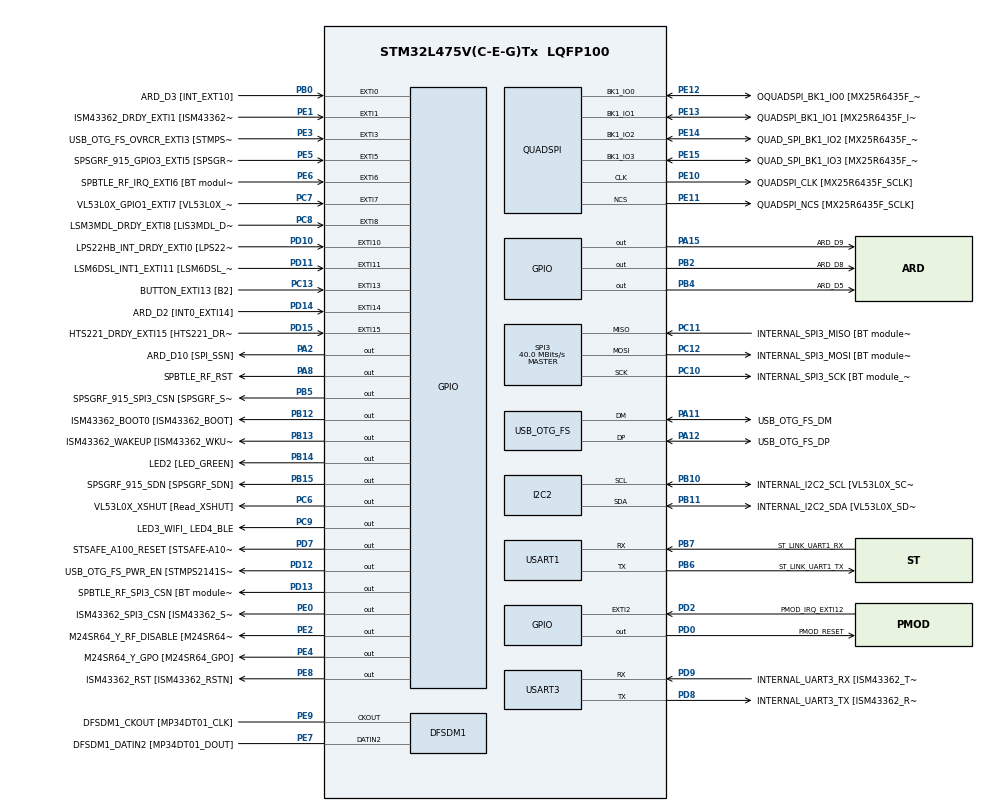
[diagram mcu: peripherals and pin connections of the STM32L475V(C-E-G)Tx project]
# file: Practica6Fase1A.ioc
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Mcu.Family=STM32L4
Mcu.Name=STM32L475V(C-E-G)Tx
Mcu.Package=LQFP100
NVIC.EXTI15_10_IRQn=true\:0\:0\:false\:false\:true\:true\:true\:true
NVIC.EXTI9_5_IRQn=true\:0\:0\:false\:false\:true\:true\:true\:true
NVIC.OTG_FS_IRQn=true\:0\:0\:false\:false\:true\:true\:true\:true
NVIC.PriorityGroup=NVIC_PRIORITYGROUP_4
PA0.GPIO_Label=ARD_D1 [UART4_TX]
PA0.Signal=UART4_TX
PA1.GPIO_Label=ARD_D0 [UART4_RX]
PA1.Signal=UART4_RX
PA10.GPIO_Label=USB_OTG_FS_ID
PA10.Signal=USB_OTG_FS_ID
PA11.GPIO_Label=USB_OTG_FS_DM
PA11.Mode=Device_Only
PA11.Signal=USB_OTG_FS_DM
PA12.GPIO_Label=USB_OTG_FS_DP
PA12.Mode=Device_Only
PA12.Signal=USB_OTG_FS_DP
PA13\ (JTMS-SWDIO).GPIO_Label=SYS_JTMS_SWDIO
PA13\ (JTMS-SWDIO).Mode=Serial_Wire
PA13\ (JTMS-SWDIO).Signal=SYS_JTMS-SWDIO
PA14\ (JTCK-SWCLK).GPIO_Label=SYS_JTCK_SWCLK
PA14\ (JTCK-SWCLK).Mode=Serial_Wire
PA14\ (JTCK-SWCLK).Signal=SYS_JTCK-SWCLK
PA15\ (JTDI).GPIO_Label=ARD_D9
PA15\ (JTDI).Signal=GPIO_Output
PA2.GPIO_Label=ARD_D10 [SPI_SSN]
PA2.Signal=GPIO_Output
PA3.GPIO_Label=ARD_D4
PA3.Signal=S_TIM2_CH4
PA4.GPIO_Label=ARD_D7
PA4.Signal=ADCx_IN9
PA5.GPIO_Label=ARD_D13 [SPI1_SCK]
PA5.Signal=SPI1_SCK
PA6.GPIO_Label=ARD_D12 [SPI1_MISO]
PA6.Signal=SPI1_MISO
PA7.GPIO_Label=ARD_D11 [SPI1_MOSI]
PA7.Signal=SPI1_MOSI
PA8.GPIO_Label=SPBTLE_RF_RST
PA8.Signal=GPIO_Output
PA9.GPIO_Label=USB_OTG_FS_VBUS [STMPS2141STR_OUT]
PA9.Signal=USB_OTG_FS_VBUS
PB0.GPIO_Label=ARD_D3 [INT_EXT10]
PB0.Signal=GPXTI0
PB1.GPIO_Label=ARD_D6 [ADC1_IN6]
PB1.Signal=ADCx_IN16
PB10.GPIO_Label=INTERNAL_I2C2_SCL [VL53L0X_SCL]
PB10.GPIO_Pu=GPIO_PULLUP
PB10.Mode=I2C
PB10.Signal=I2C2_SCL
PB11.GPIO_Label=INTERNAL_I2C2_SDA [VL53L0X_SDA]
PB11.GPIO_Pu=GPIO_PULLUP
PB11.Mode=I2C
PB11.Signal=I2C2_SDA
PB12.GPIO_Label=ISM43362_BOOT0 [ISM43362_BOOT]
PB12.Signal=GPIO_Output
PB13.GPIO_Label=ISM43362_WAKEUP [ISM43362_WKUP]
PB13.Signal=GPIO_Output
PB14.GPIO_Label=LED2 [LED_GREEN]
PB14.Signal=GPIO_Output
PB15.GPIO_Label=SPSGRF_915_SDN [SPSGRF_SDN]
PB15.Signal=GPIO_Output
PB2.GPIO_Label=ARD_D8
PB2.Signal=GPIO_Output
PB3\ (JTDO-TRACESWO).GPIO_Label=SYS_JTD0_SWO
PB3\ (JTDO-TRACESWO).Signal=SYS_JTDO-SWO
PB4\ (NJTRST).GPIO_Label=ARD_D5
PB4\ (NJTRST).Signal=GPIO_Output
PB5.GPIO_Label=SPSGRF_915_SPI3_CSN [SPSGRF_SPI_CS]
PB5.PinState=GPIO_PIN_SET
PB5.Signal=GPIO_Output
PB6.GPIO_Label=ST_LINK_UART1_TX
PB6.Mode=Asynchronous
PB6.Signal=USART1_TX
PB7.GPIO_Label=ST_LINK_UART1_RX
PB7.Mode=Asynchronous
PB7.Signal=USART1_RX
PB8.GPIO_Label=ARD_D15 [I2C1_SCL]
PB8.Signal=I2C1_SCL
PB9.GPIO_Label=ARD_D14 [I2C1_SDA]
PB9.Signal=I2C1_SDA
PC0.GPIO_Label=ARD_A5 [ADC]
PC0.Signal=ADCx_IN1
PC1.GPIO_Label=ARD_A4 [ADC]
PC1.Signal=ADCx_IN2
PC10.GPIO_Label=INTERNAL_SPI3_SCK [BT module_SPI_SCLK] [ISM43362_SCK]
PC10.Mode=Full_Duplex_Master
PC10.Signal=SPI3_SCK
PC11.GPIO_Label=INTERNAL_SPI3_MISO [BT module_SPI_MISO] [ISM43362_MISO]
PC11.Mode=Full_Duplex_Master
PC11.Signal=SPI3_MISO
PC12.GPIO_Label=INTERNAL_SPI3_MOSI [BT module_SPI_MOSI] [ISM43362_MOSI]
PC12.Mode=Full_Duplex_Master
PC12.Signal=SPI3_MOSI
PC13.GPIO_Label=BUTTON_EXTI13 [B2]
PC13.GPIO_ModeDefaultEXTI=GPIO_MODE_IT_FALLING
PC13.Signal=GPXTI13
PC14-OSC32_IN\ (PC14).Mode=LSE-External-Oscillator
PC14-OSC32_IN\ (PC14).Signal=RCC_OSC32_IN
PC15-OSC32_OUT\ (PC15).Mode=LSE-External-Oscillator
PC15-OSC32_OUT\ (PC15).Signal=RCC_OSC32_OUT
PC2.GPIO_Label=ARD_A3 [ADC]
PC2.Signal=ADCx_IN3
PC3.GPIO_Label=ARD_A2 [ADC]
PC3.Signal=ADCx_IN4
PC4.GPIO_Label=ARD_A1 [ADC]
PC4.Signal=ADCx_IN13
PC5.GPIO_Label=ARD_A0 [ADC]
PC5.Signal=ADCx_IN14
PC6.GPIO_Label=VL53L0X_XSHUT [Read_XSHUT]
PC6.Signal=GPIO_Output
PC7.GPIO_Label=VL53L0X_GPIO1_EXTI7 [VL53L0X_GPIO1]
PC7.Signal=GPXTI7
PC8.GPIO_Label=LSM3MDL_DRDY_EXTI8 [LIS3MDL_DRDY]
PC8.Signal=GPXTI8
PC9.GPIO_Label=LED3_WIFI_ LED4_BLE
PC9.Signal=GPIO_Output
PD0.GPIO_Label=PMOD_RESET
PD0.Signal=GPIO_Output
PD1.GPIO_Label=PMOD_SPI2_SCK
PD1.Signal=SPI2_SCK
PD10.GPIO_Label=LPS22HB_INT_DRDY_EXTI0 [LPS22HB_INT_DRDY] 
PD10.Signal=GPXTI10
PD11.GPIO_Label=LSM6DSL_INT1_EXTI11 [LSM6DSL_INT1]
PD11.Signal=GPXTI11
PD12.GPIO_Label=USB_OTG_FS_PWR_EN [STMPS2141STR_EN]
PD12.Signal=GPIO_Output
PD13.GPIO_Label=SPBTLE_RF_SPI3_CSN [BT module_SPI_CS]
PD13.PinState=GPIO_PIN_SET
PD13.Signal=GPIO_Output
PD14.GPIO_Label=ARD_D2 [INT0_EXTI14]
PD14.Signal=GPXTI14
PD15.GPIO_Label=HTS221_DRDY_EXTI15 [HTS221_DRDY]
PD15.Signal=GPXTI15
PD2.GPIO_Label=PMOD_IRQ_EXTI12
PD2.Signal=GPXTI2
PD3.GPIO_Label=PMOD_UART2_CTS
PD3.Signal=USART2_CTS
PD4.GPIO_Label=PMOD_UART2_RTS
PD4.Signal=USART2_RTS
PD5.GPIO_Label=PMOD_UART2_TX
PD5.Signal=USART2_TX
PD6.GPIO_Label=PMOD_UART2_RX
PD6.Signal=USART2_RX
PD7.GPIO_Label=STSAFE_A100_RESET [STSAFE-A100_RESET]
PD7.Signal=GPIO_Output
PD8.GPIO_Label=INTERNAL_UART3_TX [ISM43362_RX]
PD8.Mode=Asynchronous
PD8.Signal=USART3_TX
PD9.GPIO_Label=INTERNAL_UART3_RX [ISM43362_TX]
PD9.Mode=Asynchronous
PD9.Signal=USART3_RX
PE0.GPIO_Label=ISM43362_SPI3_CSN [ISM43362_SSN]
PE0.PinState=GPIO_PIN_SET
PE0.Signal=GPIO_Output
PE1.GPIO_Label=ISM43362_DRDY_EXTI1 [ISM43362_DATARDY]
PE1.Signal=GPXTI1
PE10.GPIO_Label=QUADSPI_CLK [MX25R6435F_SCLK]
PE10.Mode=Single Bank
PE10.Signal=QUADSPI_CLK
PE11.GPIO_Label=QUADSPI_NCS [MX25R6435F_SCLK]
PE11.Mode=Single Bank
PE11.Signal=QUADSPI_NCS
PE12.GPIO_Label=OQUADSPI_BK1_IO0 [MX25R6435F_IO0]
PE12.Mode=Single Bank
PE12.Signal=QUADSPI_BK1_IO0
PE13.GPIO_Label=QUADSPI_BK1_IO1 [MX25R6435F_IO1]
PE13.Mode=Single Bank
PE13.Signal=QUADSPI_BK1_IO1
PE14.GPIO_Label=QUAD_SPI_BK1_IO2 [MX25R6435F_IO2]
PE14.Mode=Single Bank
PE14.Signal=QUADSPI_BK1_IO2
PE15.GPIO_Label=QUAD_SPI_BK1_IO3 [MX25R6435F_IO3]
PE15.Mode=Single Bank
PE15.Signal=QUADSPI_BK1_IO3
PE2.GPIO_Label=M24SR64_Y_RF_DISABLE [M24SR64_RFDIS]
PE2.Signal=GPIO_Output
PE3.GPIO_Label=USB_OTG_FS_OVRCR_EXTI3 [STMPS2141STR_FAULT]
PE3.Signal=GPXTI3
PE4.GPIO_Label=M24SR64_Y_GPO [M24SR64_GPO]
PE4.Signal=GPIO_Output
PE5.GPIO_Label=SPSGRF_915_GPIO3_EXTI5 [SPSGRF_GPIO_3]
PE5.Signal=GPXTI5
PE6.GPIO_Label=SPBTLE_RF_IRQ_EXTI6 [BT module_SPI_IRQ]
PE6.Signal=GPXTI6
PE7.GPIO_Label=DFSDM1_DATIN2 [MP34DT01_DOUT]
PE7.Signal=S_DATAIN2DFSDM1
PE8.GPIO_Label=ISM43362_RST [ISM43362_RSTN]
PE8.Signal=GPIO_Output
PE9.GPIO_Label=DFSDM1_CKOUT [MP34DT01_CLK]
PE9.Signal=S_CKOUTDFSDM1
ProjectManager.HeapSize=0x200
ProjectManager.StackSize=0x400
ProjectManager.TargetToolchain=STM32CubeIDE
QUADSPI.ClockPrescaler=2
QUADSPI.FifoThreshold=4
QUADSPI.FlashSize=23
QUADSPI.SampleShifting=QSPI_SAMPLE_SHIFTING_HALFCYCLE
RCC.ADCFreq_Value=48000000
RCC.AHBFreq_Value=80000000
RCC.APB1Freq_Value=80000000
RCC.APB1TimFreq_Value=80000000
RCC.APB2Freq_Value=80000000
RCC.APB2TimFreq_Value=80000000
RCC.CortexFreq_Value=80000000
RCC.HCLKFreq_Value=80000000
RCC.HSE_VALUE=8000000
RCC.HSI_VALUE=16000000
RCC.MSI_VALUE=4000000
RCC.PLLN=40
RCC.PLLSAI1N=24
RCC.SYSCLKFreq_VALUE=80000000
RCC.SYSCLKSource=RCC_SYSCLKSOURCE_PLLCLK
RCC.USBFreq_Value=48000000
RCC.VCOOutputFreq_Value=160000000
SH.ADCx_IN1.0=ADC1_IN1
SH.ADCx_IN13.0=ADC1_IN13
SH.ADCx_IN14.0=ADC1_IN14
SH.ADCx_IN16.0=ADC1_IN16
SH.ADCx_IN2.0=ADC1_IN2
SH.ADCx_IN3.0=ADC1_IN3
SH.ADCx_IN4.0=ADC1_IN4
SH.ADCx_IN9.0=ADC1_IN9
SH.S_CKOUTDFSDM1.0=DFSDM1_CKOUT,CKOUT
SH.S_CKOUTDFSDM1.1=DFSDM1_CKOUT,PDM_SPI_Input_from_ch12_and_Internal_Clock
SH.S_DATAIN2DFSDM1.0=DFSDM1_DATIN2,PDM_SPI_Input_from_ch12_and_Internal_Clock
SH.S_TIM2_CH4.0=TIM2_CH4
SPI3.CalculateBaudRate=40.0 MBits/s
SPI3.Direction=SPI_DIRECTION_2LINES
SPI3.Mode=SPI_MODE_MASTER
SPI3.VirtualType=VM_MASTER
USART1.VirtualMode-Asynchronous=VM_ASYNC
USART3.VirtualMode-Asynchronous=VM_ASYNC
USB_DEVICE.CLASS_NAME_FS=CUSTOM_HID
USB_DEVICE.USBD_CUSTOM_HID_REPORT_DESC_SIZE=50
USB_DEVICE.VirtualMode=CustomHid
USB_DEVICE.VirtualModeFS=Custom_Hid_FS
USB_OTG_FS.VirtualMode=Device_Only
VP_USB_DEVICE_VS_USB_DEVICE_CUSTOM_HID_FS.Mode=CUSTOM_HID_FS
board=B-L475E-IOT01A2

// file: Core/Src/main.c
/* USER CODE BEGIN Header */
/**
 ******************************************************************************
 * @file           : main.c
 * @brief          : Main program body
 ******************************************************************************
 * @attention
 *
 * Copyright (c) 2024 STMicroelectronics.
 * All rights reserved.
 *
 * This software is licensed under terms that can be found in the LICENSE file
 * in the root directory of this software component.
 * If no LICENSE file comes with this software, it is provided AS-IS.
 *
 ******************************************************************************
 */
/* USER CODE END Header */
#include "main.h"
#include "usb_device.h"

DFSDM_Channel_HandleTypeDef hdfsdm1_channel1;

I2C_HandleTypeDef hi2c2;

QSPI_HandleTypeDef hqspi;

SPI_HandleTypeDef hspi3;

UART_HandleTypeDef huart1;
UART_HandleTypeDef huart3;

void SystemClock_Config(void);
static void MX_GPIO_Init(void);
static void MX_DFSDM1_Init(void);
static void MX_I2C2_Init(void);
static void MX_QUADSPI_Init(void);
static void MX_SPI3_Init(void);
static void MX_USART1_UART_Init(void);
static void MX_USART3_UART_Init(void);

/* USER CODE BEGIN 0 */
void ini_acelerometro(){

	uint8_t buffer[1];
	// que metemos en el buffer
	// pues los datos a escribir
	buffer[0]= 0x40;
	// debe escribir en la dirección del esclabo
	// 0xD4
	// el tamaño es de 8 byrtes
	//creo que no hace falta meterle 1000 de timeaout
	// ya qyue no hay que calentarlo
	HAL_I2C_Mem_Write(&hi2c2, 0xD4, 0x10, I2C_MEMADD_SIZE_8BIT, buffer, 1, 100);
}
int16_t readAccel(uint8_t axis){
	int16_t res = 0 ;
	uint8_t buffer[2];
	HAL_I2C_Mem_Read(&hi2c2, 0xD4, 0x28+2*axis, I2C_MEMADD_SIZE_8BIT, buffer,2, 100);
	res = ((int16_t)(buffer[1]<<8)| buffer[0])*0.061;
	return res;
}
int16_t convert(int16_t dato){
	return (((dato - (-1000)) * (127 - 0)) /
			(1000 - (-1000))) + 0;
}
int16_t convert2(int16_t dato){
	return dato/100;
}

/* USER CODE END 0 */

int main(void) {
	/* USER CODE BEGIN 1 */

	uint8_t dato[3]; // esta es la variable donde vamos a mandar el report
	/* USER CODE END 1 */
	/* MCU Configuration--------------------------------------------------------*/
	/* Reset of all peripherals, Initializes the Flash interface and the Systick. */
	HAL_Init();
	/* Configure the system clock */
	SystemClock_Config();
	/* Initialize all configured peripherals */
	MX_GPIO_Init();
	MX_DFSDM1_Init();
	MX_I2C2_Init();
	MX_QUADSPI_Init();
	MX_SPI3_Init();
	MX_USART1_UART_Init();
	MX_USART3_UART_Init();
	MX_USB_DEVICE_Init();
	ini_acelerometro();
	/* USER CODE BEGIN 2 */
	HAL_Delay(5000); //retraso para esperar a que el USB se configure
	dato[0] = 0;
//estos son los tres botones, ninguno pulsado
/* USER CODE END 2 */
/* Infinite loop */
/* USER CODE BEGIN WHILE */
while (1)
{// leelmos el estado el botón
	if (HAL_GPIO_ReadPin(BUTTON_EXTI13_GPIO_Port, BUTTON_EXTI13_Pin)==1){
			dato[0]=0b00100000 ;// Button
		}
	// leemos eje x
// establecemos el valor de dato[1]

	dato[1]= convert2(readAccel(0));
// leemos eje y
//establecemos el valor de dato[2]
dato[2]= convert2(readAccel(1)),
USBD_CUSTOM_HID_SendReport_FS(dato,3);
 HAL_Delay(100);
	/* USER CODE END WHILE */
}
}

void SystemClock_Config(void) {
RCC_OscInitTypeDef RCC_OscInitStruct = { 0 };
RCC_ClkInitTypeDef RCC_ClkInitStruct = { 0 };

/** Configure the main internal regulator output voltage
 */
if (HAL_PWREx_ControlVoltageScaling(PWR_REGULATOR_VOLTAGE_SCALE1) != HAL_OK) {
	Error_Handler();
}

/** Configure LSE Drive Capability
 */
HAL_PWR_EnableBkUpAccess();
__HAL_RCC_LSEDRIVE_CONFIG(RCC_LSEDRIVE_LOW);

/** Initializes the RCC Oscillators according to the specified parameters
 * in the RCC_OscInitTypeDef structure.
 */
RCC_OscInitStruct.OscillatorType = RCC_OSCILLATORTYPE_LSE
		| RCC_OSCILLATORTYPE_MSI;
RCC_OscInitStruct.LSEState = RCC_LSE_ON;
RCC_OscInitStruct.MSIState = RCC_MSI_ON;
RCC_OscInitStruct.MSICalibrationValue = 0;
RCC_OscInitStruct.MSIClockRange = RCC_MSIRANGE_6;
RCC_OscInitStruct.PLL.PLLState = RCC_PLL_ON;
RCC_OscInitStruct.PLL.PLLSource = RCC_PLLSOURCE_MSI;
RCC_OscInitStruct.PLL.PLLM = 1;
RCC_OscInitStruct.PLL.PLLN = 40;
RCC_OscInitStruct.PLL.PLLP = RCC_PLLP_DIV7;
RCC_OscInitStruct.PLL.PLLQ = RCC_PLLQ_DIV2;
RCC_OscInitStruct.PLL.PLLR = RCC_PLLR_DIV2;
if (HAL_RCC_OscConfig(&RCC_OscInitStruct) != HAL_OK) {
	Error_Handler();
}

/** Initializes the CPU, AHB and APB buses clocks
 */
RCC_ClkInitStruct.ClockType = RCC_CLOCKTYPE_HCLK | RCC_CLOCKTYPE_SYSCLK
		| RCC_CLOCKTYPE_PCLK1 | RCC_CLOCKTYPE_PCLK2;
RCC_ClkInitStruct.SYSCLKSource = RCC_SYSCLKSOURCE_PLLCLK;
RCC_ClkInitStruct.AHBCLKDivider = RCC_SYSCLK_DIV1;
RCC_ClkInitStruct.APB1CLKDivider = RCC_HCLK_DIV1;
RCC_ClkInitStruct.APB2CLKDivider = RCC_HCLK_DIV1;

if (HAL_RCC_ClockConfig(&RCC_ClkInitStruct, FLASH_LATENCY_4) != HAL_OK) {
	Error_Handler();
}

/** Enable MSI Auto calibration
 */
HAL_RCCEx_EnableMSIPLLMode();
}

static void MX_DFSDM1_Init(void) {

hdfsdm1_channel1.Instance = DFSDM1_Channel1;
hdfsdm1_channel1.Init.OutputClock.Activation = ENABLE;
hdfsdm1_channel1.Init.OutputClock.Selection = DFSDM_CHANNEL_OUTPUT_CLOCK_SYSTEM;
hdfsdm1_channel1.Init.OutputClock.Divider = 2;
hdfsdm1_channel1.Init.Input.Multiplexer = DFSDM_CHANNEL_EXTERNAL_INPUTS;
hdfsdm1_channel1.Init.Input.DataPacking = DFSDM_CHANNEL_STANDARD_MODE;
hdfsdm1_channel1.Init.Input.Pins = DFSDM_CHANNEL_FOLLOWING_CHANNEL_PINS;
hdfsdm1_channel1.Init.SerialInterface.Type = DFSDM_CHANNEL_SPI_RISING;
hdfsdm1_channel1.Init.SerialInterface.SpiClock =
		DFSDM_CHANNEL_SPI_CLOCK_INTERNAL;
hdfsdm1_channel1.Init.Awd.FilterOrder = DFSDM_CHANNEL_FASTSINC_ORDER;
hdfsdm1_channel1.Init.Awd.Oversampling = 1;
hdfsdm1_channel1.Init.Offset = 0;
hdfsdm1_channel1.Init.RightBitShift = 0x00;
if (HAL_DFSDM_ChannelInit(&hdfsdm1_channel1) != HAL_OK) {
	Error_Handler();
}

}

static void MX_I2C2_Init(void) {

hi2c2.Instance = I2C2;
hi2c2.Init.Timing = 0x00000E14;
hi2c2.Init.OwnAddress1 = 0;
hi2c2.Init.AddressingMode = I2C_ADDRESSINGMODE_7BIT;
hi2c2.Init.DualAddressMode = I2C_DUALADDRESS_DISABLE;
hi2c2.Init.OwnAddress2 = 0;
hi2c2.Init.OwnAddress2Masks = I2C_OA2_NOMASK;
hi2c2.Init.GeneralCallMode = I2C_GENERALCALL_DISABLE;
hi2c2.Init.NoStretchMode = I2C_NOSTRETCH_DISABLE;
if (HAL_I2C_Init(&hi2c2) != HAL_OK) {
	Error_Handler();
}

/** Configure Analogue filter
 */
if (HAL_I2CEx_ConfigAnalogFilter(&hi2c2, I2C_ANALOGFILTER_ENABLE) != HAL_OK) {
	Error_Handler();
}

/** Configure Digital filter
 */
if (HAL_I2CEx_ConfigDigitalFilter(&hi2c2, 0) != HAL_OK) {
	Error_Handler();
}

}

static void MX_QUADSPI_Init(void) {

/* QUADSPI parameter configuration*/
hqspi.Instance = QUADSPI;
hqspi.Init.ClockPrescaler = 2;
hqspi.Init.FifoThreshold = 4;
hqspi.Init.SampleShifting = QSPI_SAMPLE_SHIFTING_HALFCYCLE;
hqspi.Init.FlashSize = 23;
hqspi.Init.ChipSelectHighTime = QSPI_CS_HIGH_TIME_1_CYCLE;
hqspi.Init.ClockMode = QSPI_CLOCK_MODE_0;
if (HAL_QSPI_Init(&hqspi) != HAL_OK) {
	Error_Handler();
}

}

static void MX_SPI3_Init(void) {

/* SPI3 parameter configuration*/
hspi3.Instance = SPI3;
hspi3.Init.Mode = SPI_MODE_MASTER;
hspi3.Init.Direction = SPI_DIRECTION_2LINES;
hspi3.Init.DataSize = SPI_DATASIZE_4BIT;
hspi3.Init.CLKPolarity = SPI_POLARITY_LOW;
hspi3.Init.CLKPhase = SPI_PHASE_1EDGE;
hspi3.Init.NSS = SPI_NSS_SOFT;
hspi3.Init.BaudRatePrescaler = SPI_BAUDRATEPRESCALER_2;
hspi3.Init.FirstBit = SPI_FIRSTBIT_MSB;
hspi3.Init.TIMode = SPI_TIMODE_DISABLE;
hspi3.Init.CRCCalculation = SPI_CRCCALCULATION_DISABLE;
hspi3.Init.CRCPolynomial = 7;
hspi3.Init.CRCLength = SPI_CRC_LENGTH_DATASIZE;
hspi3.Init.NSSPMode = SPI_NSS_PULSE_ENABLE;
if (HAL_SPI_Init(&hspi3) != HAL_OK) {
	Error_Handler();
}

}

static void MX_USART1_UART_Init(void) {

huart1.Instance = USART1;
huart1.Init.BaudRate = 115200;
huart1.Init.WordLength = UART_WORDLENGTH_8B;
huart1.Init.StopBits = UART_STOPBITS_1;
huart1.Init.Parity = UART_PARITY_NONE;
huart1.Init.Mode = UART_MODE_TX_RX;
huart1.Init.HwFlowCtl = UART_HWCONTROL_NONE;
huart1.Init.OverSampling = UART_OVERSAMPLING_16;
huart1.Init.OneBitSampling = UART_ONE_BIT_SAMPLE_DISABLE;
huart1.AdvancedInit.AdvFeatureInit = UART_ADVFEATURE_NO_INIT;
if (HAL_UART_Init(&huart1) != HAL_OK) {
	Error_Handler();
}

}

static void MX_USART3_UART_Init(void) {

huart3.Instance = USART3;
huart3.Init.BaudRate = 115200;
huart3.Init.WordLength = UART_WORDLENGTH_8B;
huart3.Init.StopBits = UART_STOPBITS_1;
huart3.Init.Parity = UART_PARITY_NONE;
huart3.Init.Mode = UART_MODE_TX_RX;
huart3.Init.HwFlowCtl = UART_HWCONTROL_NONE;
huart3.Init.OverSampling = UART_OVERSAMPLING_16;
huart3.Init.OneBitSampling = UART_ONE_BIT_SAMPLE_DISABLE;
huart3.AdvancedInit.AdvFeatureInit = UART_ADVFEATURE_NO_INIT;
if (HAL_UART_Init(&huart3) != HAL_OK) {
	Error_Handler();
}

}

static void MX_GPIO_Init(void) {
GPIO_InitTypeDef GPIO_InitStruct = { 0 };

/* GPIO Ports Clock Enable */
__HAL_RCC_GPIOE_CLK_ENABLE();
__HAL_RCC_GPIOC_CLK_ENABLE();
__HAL_RCC_GPIOA_CLK_ENABLE();
__HAL_RCC_GPIOB_CLK_ENABLE();
__HAL_RCC_GPIOD_CLK_ENABLE();

/*Configure GPIO pin Output Level */
HAL_GPIO_WritePin(GPIOE,
		M24SR64_Y_RF_DISABLE_Pin | M24SR64_Y_GPO_Pin | ISM43362_RST_Pin,
		GPIO_PIN_RESET);

/*Configure GPIO pin Output Level */
HAL_GPIO_WritePin(GPIOA, ARD_D10_Pin | SPBTLE_RF_RST_Pin | ARD_D9_Pin,
		GPIO_PIN_RESET);

/*Configure GPIO pin Output Level */
HAL_GPIO_WritePin(GPIOB,
		ARD_D8_Pin | ISM43362_BOOT0_Pin | ISM43362_WAKEUP_Pin | LED2_Pin
				| SPSGRF_915_SDN_Pin | ARD_D5_Pin, GPIO_PIN_RESET);

/*Configure GPIO pin Output Level */
HAL_GPIO_WritePin(GPIOD,
		USB_OTG_FS_PWR_EN_Pin | PMOD_RESET_Pin | STSAFE_A100_RESET_Pin,
		GPIO_PIN_RESET);

/*Configure GPIO pin Output Level */
HAL_GPIO_WritePin(SPBTLE_RF_SPI3_CSN_GPIO_Port, SPBTLE_RF_SPI3_CSN_Pin,
		GPIO_PIN_SET);

/*Configure GPIO pin Output Level */
HAL_GPIO_WritePin(GPIOC, VL53L0X_XSHUT_Pin | LED3_WIFI__LED4_BLE_Pin,
		GPIO_PIN_RESET);

/*Configure GPIO pin Output Level */
HAL_GPIO_WritePin(SPSGRF_915_SPI3_CSN_GPIO_Port, SPSGRF_915_SPI3_CSN_Pin,
		GPIO_PIN_SET);

/*Configure GPIO pin Output Level */
HAL_GPIO_WritePin(ISM43362_SPI3_CSN_GPIO_Port, ISM43362_SPI3_CSN_Pin,
		GPIO_PIN_SET);

/*Configure GPIO pins : M24SR64_Y_RF_DISABLE_Pin M24SR64_Y_GPO_Pin ISM43362_RST_Pin ISM43362_SPI3_CSN_Pin */
GPIO_InitStruct.Pin = M24SR64_Y_RF_DISABLE_Pin | M24SR64_Y_GPO_Pin
		| ISM43362_RST_Pin | ISM43362_SPI3_CSN_Pin;
GPIO_InitStruct.Mode = GPIO_MODE_OUTPUT_PP;
GPIO_InitStruct.Pull = GPIO_NOPULL;
GPIO_InitStruct.Speed = GPIO_SPEED_FREQ_LOW;
HAL_GPIO_Init(GPIOE, &GPIO_InitStruct);

/*Configure GPIO pins : USB_OTG_FS_OVRCR_EXTI3_Pin SPSGRF_915_GPIO3_EXTI5_Pin SPBTLE_RF_IRQ_EXTI6_Pin ISM43362_DRDY_EXTI1_Pin */
GPIO_InitStruct.Pin = USB_OTG_FS_OVRCR_EXTI3_Pin | SPSGRF_915_GPIO3_EXTI5_Pin
		| SPBTLE_RF_IRQ_EXTI6_Pin | ISM43362_DRDY_EXTI1_Pin;
GPIO_InitStruct.Mode = GPIO_MODE_IT_RISING;
GPIO_InitStruct.Pull = GPIO_NOPULL;
HAL_GPIO_Init(GPIOE, &GPIO_InitStruct);

/*Configure GPIO pin : BUTTON_EXTI13_Pin */
GPIO_InitStruct.Pin = BUTTON_EXTI13_Pin;
GPIO_InitStruct.Mode = GPIO_MODE_IT_FALLING;
GPIO_InitStruct.Pull = GPIO_NOPULL;
HAL_GPIO_Init(BUTTON_EXTI13_GPIO_Port, &GPIO_InitStruct);

/*Configure GPIO pins : ARD_A5_Pin ARD_A4_Pin ARD_A3_Pin ARD_A2_Pin
 ARD_A1_Pin ARD_A0_Pin */
GPIO_InitStruct.Pin = ARD_A5_Pin | ARD_A4_Pin | ARD_A3_Pin | ARD_A2_Pin
		| ARD_A1_Pin | ARD_A0_Pin;
GPIO_InitStruct.Mode = GPIO_MODE_ANALOG_ADC_CONTROL;
GPIO_InitStruct.Pull = GPIO_NOPULL;
HAL_GPIO_Init(GPIOC, &GPIO_InitStruct);

/*Configure GPIO pins : ARD_D1_Pin ARD_D0_Pin */
GPIO_InitStruct.Pin = ARD_D1_Pin | ARD_D0_Pin;
GPIO_InitStruct.Mode = GPIO_MODE_AF_PP;
GPIO_InitStruct.Pull = GPIO_NOPULL;
GPIO_InitStruct.Speed = GPIO_SPEED_FREQ_VERY_HIGH;
GPIO_InitStruct.Alternate = GPIO_AF8_UART4;
HAL_GPIO_Init(GPIOA, &GPIO_InitStruct);

/*Configure GPIO pins : ARD_D10_Pin SPBTLE_RF_RST_Pin ARD_D9_Pin */
GPIO_InitStruct.Pin = ARD_D10_Pin | SPBTLE_RF_RST_Pin | ARD_D9_Pin;
GPIO_InitStruct.Mode = GPIO_MODE_OUTPUT_PP;
GPIO_InitStruct.Pull = GPIO_NOPULL;
GPIO_InitStruct.Speed = GPIO_SPEED_FREQ_LOW;
HAL_GPIO_Init(GPIOA, &GPIO_InitStruct);

/*Configure GPIO pin : ARD_D4_Pin */
GPIO_InitStruct.Pin = ARD_D4_Pin;
GPIO_InitStruct.Mode = GPIO_MODE_AF_PP;
GPIO_InitStruct.Pull = GPIO_NOPULL;
GPIO_InitStruct.Speed = GPIO_SPEED_FREQ_LOW;
GPIO_InitStruct.Alternate = GPIO_AF1_TIM2;
HAL_GPIO_Init(ARD_D4_GPIO_Port, &GPIO_InitStruct);

/*Configure GPIO pin : ARD_D7_Pin */
GPIO_InitStruct.Pin = ARD_D7_Pin;
GPIO_InitStruct.Mode = GPIO_MODE_ANALOG_ADC_CONTROL;
GPIO_InitStruct.Pull = GPIO_NOPULL;
HAL_GPIO_Init(ARD_D7_GPIO_Port, &GPIO_InitStruct);

/*Configure GPIO pins : ARD_D13_Pin ARD_D12_Pin ARD_D11_Pin */
GPIO_InitStruct.Pin = ARD_D13_Pin | ARD_D12_Pin | ARD_D11_Pin;
GPIO_InitStruct.Mode = GPIO_MODE_AF_PP;
GPIO_InitStruct.Pull = GPIO_NOPULL;
GPIO_InitStruct.Speed = GPIO_SPEED_FREQ_VERY_HIGH;
GPIO_InitStruct.Alternate = GPIO_AF5_SPI1;
HAL_GPIO_Init(GPIOA, &GPIO_InitStruct);

/*Configure GPIO pin : ARD_D3_Pin */
GPIO_InitStruct.Pin = ARD_D3_Pin;
GPIO_InitStruct.Mode = GPIO_MODE_IT_RISING;
GPIO_InitStruct.Pull = GPIO_NOPULL;
HAL_GPIO_Init(ARD_D3_GPIO_Port, &GPIO_InitStruct);

/*Configure GPIO pin : ARD_D6_Pin */
GPIO_InitStruct.Pin = ARD_D6_Pin;
GPIO_InitStruct.Mode = GPIO_MODE_ANALOG_ADC_CONTROL;
GPIO_InitStruct.Pull = GPIO_NOPULL;
HAL_GPIO_Init(ARD_D6_GPIO_Port, &GPIO_InitStruct);

/*Configure GPIO pins : ARD_D8_Pin ISM43362_BOOT0_Pin ISM43362_WAKEUP_Pin LED2_Pin
 SPSGRF_915_SDN_Pin ARD_D5_Pin SPSGRF_915_SPI3_CSN_Pin */
GPIO_InitStruct.Pin = ARD_D8_Pin | ISM43362_BOOT0_Pin | ISM43362_WAKEUP_Pin
		| LED2_Pin | SPSGRF_915_SDN_Pin | ARD_D5_Pin | SPSGRF_915_SPI3_CSN_Pin;
GPIO_InitStruct.Mode = GPIO_MODE_OUTPUT_PP;
GPIO_InitStruct.Pull = GPIO_NOPULL;
GPIO_InitStruct.Speed = GPIO_SPEED_FREQ_LOW;
HAL_GPIO_Init(GPIOB, &GPIO_InitStruct);

/*Configure GPIO pins : LPS22HB_INT_DRDY_EXTI0_Pin LSM6DSL_INT1_EXTI11_Pin ARD_D2_Pin HTS221_DRDY_EXTI15_Pin
 PMOD_IRQ_EXTI12_Pin */
GPIO_InitStruct.Pin = LPS22HB_INT_DRDY_EXTI0_Pin | LSM6DSL_INT1_EXTI11_Pin
		| ARD_D2_Pin | HTS221_DRDY_EXTI15_Pin | PMOD_IRQ_EXTI12_Pin;
GPIO_InitStruct.Mode = GPIO_MODE_IT_RISING;
GPIO_InitStruct.Pull = GPIO_NOPULL;
HAL_GPIO_Init(GPIOD, &GPIO_InitStruct);

/*Configure GPIO pins : USB_OTG_FS_PWR_EN_Pin SPBTLE_RF_SPI3_CSN_Pin PMOD_RESET_Pin STSAFE_A100_RESET_Pin */
GPIO_InitStruct.Pin = USB_OTG_FS_PWR_EN_Pin | SPBTLE_RF_SPI3_CSN_Pin
		| PMOD_RESET_Pin | STSAFE_A100_RESET_Pin;
GPIO_InitStruct.Mode = GPIO_MODE_OUTPUT_PP;
GPIO_InitStruct.Pull = GPIO_NOPULL;
GPIO_InitStruct.Speed = GPIO_SPEED_FREQ_LOW;
HAL_GPIO_Init(GPIOD, &GPIO_InitStruct);

/*Configure GPIO pins : VL53L0X_XSHUT_Pin LED3_WIFI__LED4_BLE_Pin */
GPIO_InitStruct.Pin = VL53L0X_XSHUT_Pin | LED3_WIFI__LED4_BLE_Pin;
GPIO_InitStruct.Mode = GPIO_MODE_OUTPUT_PP;
GPIO_InitStruct.Pull = GPIO_NOPULL;
GPIO_InitStruct.Speed = GPIO_SPEED_FREQ_LOW;
HAL_GPIO_Init(GPIOC, &GPIO_InitStruct);

/*Configure GPIO pins : VL53L0X_GPIO1_EXTI7_Pin LSM3MDL_DRDY_EXTI8_Pin */
GPIO_InitStruct.Pin = VL53L0X_GPIO1_EXTI7_Pin | LSM3MDL_DRDY_EXTI8_Pin;
GPIO_InitStruct.Mode = GPIO_MODE_IT_RISING;
GPIO_InitStruct.Pull = GPIO_NOPULL;
HAL_GPIO_Init(GPIOC, &GPIO_InitStruct);

/*Configure GPIO pin : PMOD_SPI2_SCK_Pin */
GPIO_InitStruct.Pin = PMOD_SPI2_SCK_Pin;
GPIO_InitStruct.Mode = GPIO_MODE_AF_PP;
GPIO_InitStruct.Pull = GPIO_NOPULL;
GPIO_InitStruct.Speed = GPIO_SPEED_FREQ_VERY_HIGH;
GPIO_InitStruct.Alternate = GPIO_AF5_SPI2;
HAL_GPIO_Init(PMOD_SPI2_SCK_GPIO_Port, &GPIO_InitStruct);

/*Configure GPIO pins : PMOD_UART2_CTS_Pin PMOD_UART2_RTS_Pin PMOD_UART2_TX_Pin PMOD_UART2_RX_Pin */
GPIO_InitStruct.Pin = PMOD_UART2_CTS_Pin | PMOD_UART2_RTS_Pin
		| PMOD_UART2_TX_Pin | PMOD_UART2_RX_Pin;
GPIO_InitStruct.Mode = GPIO_MODE_AF_PP;
GPIO_InitStruct.Pull = GPIO_NOPULL;
GPIO_InitStruct.Speed = GPIO_SPEED_FREQ_VERY_HIGH;
GPIO_InitStruct.Alternate = GPIO_AF7_USART2;
HAL_GPIO_Init(GPIOD, &GPIO_InitStruct);

/*Configure GPIO pins : ARD_D15_Pin ARD_D14_Pin */
GPIO_InitStruct.Pin = ARD_D15_Pin | ARD_D14_Pin;
GPIO_InitStruct.Mode = GPIO_MODE_AF_OD;
GPIO_InitStruct.Pull = GPIO_NOPULL;
GPIO_InitStruct.Speed = GPIO_SPEED_FREQ_VERY_HIGH;
GPIO_InitStruct.Alternate = GPIO_AF4_I2C1;
HAL_GPIO_Init(GPIOB, &GPIO_InitStruct);

/* EXTI interrupt init*/
HAL_NVIC_SetPriority(EXTI9_5_IRQn, 0, 0);
HAL_NVIC_EnableIRQ(EXTI9_5_IRQn);

HAL_NVIC_SetPriority(EXTI15_10_IRQn, 0, 0);
HAL_NVIC_EnableIRQ(EXTI15_10_IRQn);

}

void Error_Handler(void) {
__disable_irq();
while (1) {
}
}
